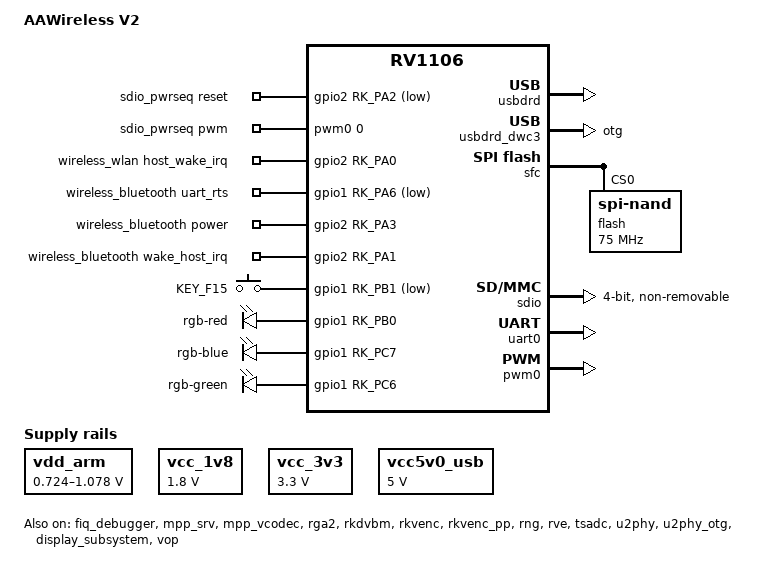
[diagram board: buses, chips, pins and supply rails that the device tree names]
// SPDX-License-Identifier: (GPL-2.0+ OR MIT)

/dts-v1/;

#include "rv1106.dtsi"
#include <dt-bindings/input/input.h>

/ {
    model = "AAWireless V2";
    compatible = "rockchip,aaw2", "rockchip,rv1106";

    vdd_arm: vdd-arm {
        compatible = "regulator-fixed";
        regulator-name = "vdd_arm";
        regulator-min-microvolt = <724000>;
        regulator-max-microvolt = <1078000>;
        regulator-init-microvolt = <950000>;
        regulator-always-on;
        regulator-boot-on;
        regulator-settling-time-up-us = <250>;
    };

    vcc_1v8: vcc-1v8 {
        compatible = "regulator-fixed";
        regulator-name = "vcc_1v8";
        regulator-always-on;
        regulator-boot-on;
        regulator-min-microvolt = <1800000>;
        regulator-max-microvolt = <1800000>;
    };

    vcc_3v3: vcc-3v3 {
        compatible = "regulator-fixed";
        regulator-name = "vcc_3v3";
        regulator-always-on;
        regulator-boot-on;
        regulator-min-microvolt = <3300000>;
        regulator-max-microvolt = <3300000>;
    };

    vcc5v0_usb: vcc5v0-usb {
        compatible = "regulator-fixed";
        regulator-name = "vcc5v0_usb";
        regulator-always-on;
        regulator-boot-on;
        regulator-min-microvolt = <5000000>;
        regulator-max-microvolt = <5000000>;
    };

    sdio_pwrseq: sdio-pwrseq {
        compatible = "mmc-pwrseq-simple";
        pinctrl-names = "default";
        pinctrl-0 = <&wifi_enable>;
        pwms = <&pwm0 0 30518 0>; /* 30518 ns = 32.7675 kHz */

        /*
         * On the module itself this is one of these (depending
         * on the actual card populated):
         * - SDIO_RESET_L_WL_REG_ON
         * - PDN (power down when low)
         */
        reset-gpios = <&gpio2 RK_PA2 GPIO_ACTIVE_LOW>;    //GPIO1_D0----WIFI_REG_ON
    };

    wireless_wlan: wireless-wlan {
        compatible = "wlan-platdata";
        wifi_chip_type = "ap6255";
        pinctrl-names = "default";
        pinctrl-0 = <&wifi_wake_host>;
        WIFI,host_wake_irq = <&gpio2 RK_PA0 GPIO_ACTIVE_HIGH>;
        status = "okay";
    };

    wireless_bluetooth: wireless-bluetooth {
        compatible = "bluetooth-platdata";
        uart_rts_gpios = <&gpio1 RK_PA6 GPIO_ACTIVE_LOW>;
        BT,power_gpio = <&gpio2 RK_PA3 GPIO_ACTIVE_HIGH>;
        BT,wake_host_irq = <&gpio2 RK_PA1 GPIO_ACTIVE_HIGH>;
        pinctrl-names = "default", "rts_gpio";
        pinctrl-0 = <&uart0m1_rtsn>;
        pinctrl-1 = <&uart0m1_rtsn_gpio>;
        status = "okay";
    };

    gpio-keys {
        compatible = "gpio-keys";
        status = "okay";

        F15 {
            gpios = <&gpio1 RK_PB1 GPIO_ACTIVE_LOW>;
            label = "KEY_F15";
            linux,code = <KEY_F15>;
            linux,input-type = <1>;
            gpio-key,wakeup = <1>;
            debounce-interval = <100>;
            pinctrl-names = "default";
            pinctrl-0 = <&pwrbtn>;
        };
    };

    gpio-leds {
        compatible = "gpio-leds";
        pinctrl-names = "default";
        pinctrl-0 = <&rgb_red &rgb_blue &rgb_green>;
        status = "okay";

        rgb-red {
            label = "rgb-red";
            gpios = <&gpio1 RK_PB0 GPIO_ACTIVE_HIGH>;
            linux,default-trigger = "none";
            default-state = "off";
        };

        rgb-blue {
            label = "rgb-blue";
            gpios = <&gpio1 RK_PC7 GPIO_ACTIVE_HIGH>;
            linux,default-trigger = "none";
            default-state = "off";
        };

        rgb-green {
            label = "rgb-green";
            gpios = <&gpio1 RK_PC6 GPIO_ACTIVE_HIGH>;
            linux,default-trigger = "default-on";
            default-state = "on";
        };
    };
};

&fiq_debugger {
    rockchip,irq-mode-enable = <1>;
    status = "okay";
};

&gmac {
    status = "disabled";
};

&i2s0_8ch {
    status = "disabled";
};

&mpp_srv {
    status = "okay";
};

&mpp_vcodec {
    status = "okay";
};

&npu {
    status = "disabled";
};

&rga2 {
    status = "okay";
};

&rkdvbm {
    status = "okay";
};

&rkvenc {
    status = "okay";
};

&rkvenc_pp {
    status = "okay";
};

&rng {
    status = "okay";
};

&rve {
    status = "okay";
};

&tsadc {
    status = "okay";
};

&u2phy {
    status = "okay";
};

&u2phy_otg {
    status = "okay";
    vbus-supply = <&vcc5v0_usb>;
    rockchip,vbus-always-on;
};

&usbdrd {
    status = "okay";
};

&usbdrd_dwc3 {
    extcon = <&u2phy>;
    status = "okay";
    dr_mode = "otg";
};

&acodec {
    status = "disabled";
};

&cpu0 {
    cpu-supply = <&vdd_arm>;
};

&emmc {
    status = "disabled";
};

&dsm {
    status = "disabled";
};

&i2c4 {
    status = "disabled";
};

&i2s0_8ch {
    status = "disabled";
};

&rtc {
    status = "disabled";
};

&sfc {
    status = "okay";

    flash@0 {
        compatible = "spi-nand";
        reg = <0>;
        spi-max-frequency = <75000000>;
        spi-rx-bus-width = <4>;
        spi-tx-bus-width = <1>;
    };
};

&pinctrl {
    gpio {
        uart0m1_rtsn_gpio: uart4-rts-pin {
            rockchip,pins = <2 RK_PA6 RK_FUNC_GPIO &pcfg_pull_none>;
        };

        rgb_red: rgb-red {
            rockchip,pins = <1 RK_PB0 RK_FUNC_GPIO &pcfg_pull_none>;
        };

        rgb_blue: rgb-blue {
            rockchip,pins = <1 RK_PC7 RK_FUNC_GPIO &pcfg_pull_none>;
        };

        rgb_green: rgb-green {
            rockchip,pins = <1 RK_PC6 RK_FUNC_GPIO &pcfg_pull_none>;
        };
    };

    sdio-pwrseq {
        wifi_enable: wifi-enable {
            rockchip,pins = <2 RK_PA2 RK_FUNC_GPIO &pcfg_pull_none>;
        };
    };

    wireless-wlan {
        wifi_wake_host: wifi-wake-host {
            rockchip,pins = <2 RK_PA0 RK_FUNC_GPIO &pcfg_pull_up>;
        };
    };

    key {
        pwrbtn: pwrbtn {
            rockchip,pins = <1 RK_PB1 RK_FUNC_GPIO &pcfg_pull_up>;
        };
    };
};

&sdio {
    max-frequency = <200000000>;
    bus-width = <4>;
    cap-sd-highspeed;
    cap-sdio-irq;
    keep-power-in-suspend;
    non-removable;
    rockchip,default-sample-phase = <90>;
    sd-uhs-sdr104;
    supports-sdio;
    mmc-pwrseq = <&sdio_pwrseq>;
    pinctrl-names = "default";
    pinctrl-0 = <&sdmmc1m1_cmd &sdmmc1m1_clk &sdmmc1m1_bus4>;
    status = "okay";
};

&sdmmc {
    status = "disabled";
};

&uart0 {
    pinctrl-names = "default";
    pinctrl-0 = <&uart0m1_xfer &uart0m1_ctsn>;
    status = "okay";
};

&display_subsystem {
    status = "okay";
};

&vop {
    status = "okay";
};

&pwm0 {
    status = "okay";
    pinctrl-0 = <&pwm0m1_pins>;
};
